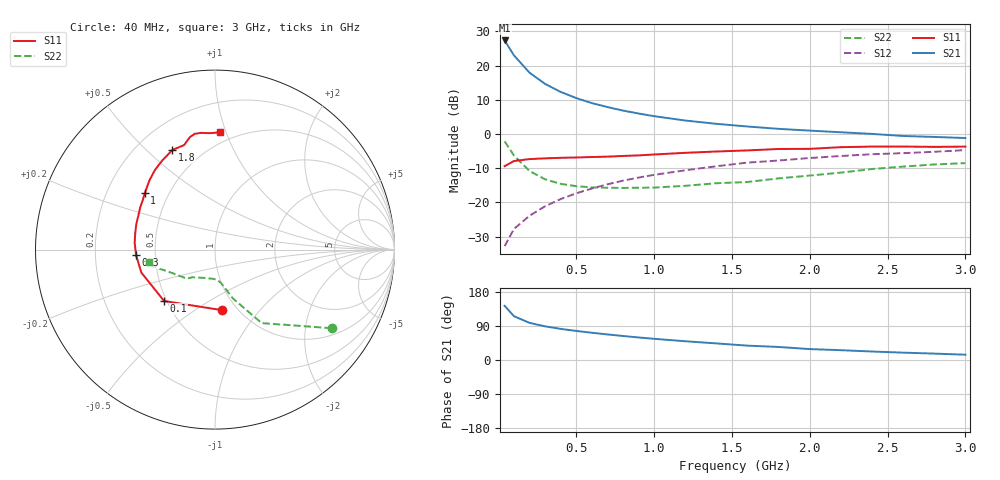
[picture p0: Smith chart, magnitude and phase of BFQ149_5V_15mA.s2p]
! Filename:  BFQ149A.S2P  Version:  2.0
! Philips part #: BFQ149  Date: Aug 1990
! Bias condition: Vce=-5V, Ic=-15mA
#  MHz  S  MA  R  50
! Freq  S11  S21  S12  S22  !GUM [dB]
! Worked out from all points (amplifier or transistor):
!   21 points, 40 MHz to 3 GHz, reference 50 ohm
!   highest |S21| = 27.3 dB at 40 MHz (marker M1)
!   |S21| within 3 dB of that: start of sweep to 81.39 MHz
!   unconditionally stable (mu >= 1): 345.6 MHz to 1.115 GHz
!   at 300 MHz: K = 0.98, MSG = 17.9 dB, |S12| = -21.1 dB
!   at 1 GHz: K = 1.01, MAG = 7.9 dB, |S12| = -11.9 dB
!   at 3 GHz: K = 0.92, MSG = 1.8 dB, |S12| = -4.7 dB
!   S11 on the Smith chart (normalised r, x): 40 MHz: 0.85, -0.65; 100 MHz: 0.48, -0.33; 300 MHz: 0.39, -0.03; 1 GHz: 0.37, +0.31; 1.8 GHz: 0.35, +0.60; 3 GHz: 0.42, +0.95
40  0.339 -83.8  23.25 143.0  0.023 69.5  0.783 -34.0
100  0.403 -134.7  14.09 115.6  0.041 63.2  0.485 -57.6
200  0.43 -162.7  7.858 98.0  0.064 66.0  0.288 -70.0
300  0.441 -176.1  5.395 88.8  0.088 68.4  0.218 -75.7
400  0.449 175.2  4.117 82.1  0.112 69.3  0.187 -80.3
500  0.454 168.2  3.348 76.7  0.136 69.5  0.173 -84.4
600  0.461 162.0  2.829 71.9  0.16 69.3  0.166 -88.3
700  0.467 156.2  2.474 67.5  0.184 68.5  0.164 -92.4
800  0.478 150.8  2.201 63.4  0.208 67.5  0.163 -96.3
900  0.487 145.9  1.992 59.5  0.231 66.3  0.164 -100.7
1000  0.502 141.2  1.822 55.9  0.253 65.3  0.165 -105.7
1200  0.531 133.5  1.574 49.5  0.295 63.0  0.175 -116.4
1400  0.555 127.2  1.408 43.8  0.338 60.7  0.191 -125.9
1600  0.576 120.9  1.287 37.9  0.382 56.9  0.199 -129.2
1800  0.604 113.1  1.189 34.4  0.41 55.0  0.225 -134.1
2000  0.607 106.5  1.121 28.8  0.446 52.5  0.247 -143.8
2200  0.642 102.6  1.06 25.9  0.477 50.6  0.273 -151.6
2400  0.655 99.9  1.003 22.4  0.507 48.1  0.308 -158.3
2600  0.655 96.8  0.936 19.4  0.525 45.4  0.334 -161.7
2800  0.649 92.3  0.906 16.9  0.55 43.4  0.359 -164.7
3000  0.654 87.8  0.873 14.0  0.582 40.8  0.376 -169.6
